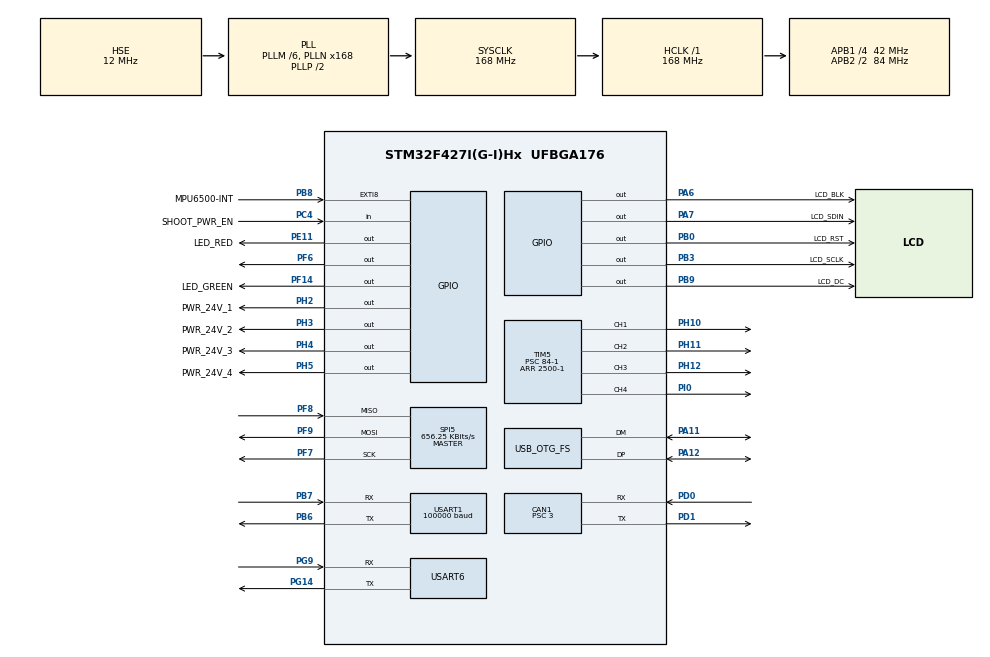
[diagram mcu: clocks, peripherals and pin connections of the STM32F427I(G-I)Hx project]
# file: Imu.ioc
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CAN1.BS1=CAN_BS1_8TQ
CAN1.BS2=CAN_BS2_5TQ
CAN1.CalculateBaudRate=1000000
CAN1.CalculateTimeBit=1000
CAN1.CalculateTimeQuantum=71.42857142857143
CAN1.Prescaler=3
CAN1.SJW=CAN_SJW_1TQ
Dma.Request0=USART1_RX
Dma.Request1=SPI5_RX
Dma.Request2=SPI5_TX
Dma.Request3=USART6_RX
Dma.SPI5_RX.1.Direction=DMA_PERIPH_TO_MEMORY
Dma.SPI5_RX.1.FIFOMode=DMA_FIFOMODE_DISABLE
Dma.SPI5_RX.1.Instance=DMA2_Stream3
Dma.SPI5_RX.1.MemDataAlignment=DMA_MDATAALIGN_BYTE
Dma.SPI5_RX.1.MemInc=DMA_MINC_ENABLE
Dma.SPI5_RX.1.Mode=DMA_NORMAL
Dma.SPI5_RX.1.PeriphDataAlignment=DMA_PDATAALIGN_BYTE
Dma.SPI5_RX.1.PeriphInc=DMA_PINC_DISABLE
Dma.SPI5_RX.1.Priority=DMA_PRIORITY_VERY_HIGH
Dma.SPI5_TX.2.Direction=DMA_MEMORY_TO_PERIPH
Dma.SPI5_TX.2.FIFOMode=DMA_FIFOMODE_DISABLE
Dma.SPI5_TX.2.Instance=DMA2_Stream4
Dma.SPI5_TX.2.MemDataAlignment=DMA_MDATAALIGN_BYTE
Dma.SPI5_TX.2.MemInc=DMA_MINC_ENABLE
Dma.SPI5_TX.2.Mode=DMA_NORMAL
Dma.SPI5_TX.2.PeriphDataAlignment=DMA_PDATAALIGN_BYTE
Dma.SPI5_TX.2.PeriphInc=DMA_PINC_DISABLE
Dma.SPI5_TX.2.Priority=DMA_PRIORITY_VERY_HIGH
Dma.USART1_RX.0.Direction=DMA_PERIPH_TO_MEMORY
Dma.USART1_RX.0.FIFOMode=DMA_FIFOMODE_DISABLE
Dma.USART1_RX.0.Instance=DMA2_Stream5
Dma.USART1_RX.0.MemDataAlignment=DMA_MDATAALIGN_BYTE
Dma.USART1_RX.0.MemInc=DMA_MINC_ENABLE
Dma.USART1_RX.0.Mode=DMA_CIRCULAR
Dma.USART1_RX.0.PeriphDataAlignment=DMA_PDATAALIGN_BYTE
Dma.USART1_RX.0.PeriphInc=DMA_PINC_DISABLE
Dma.USART1_RX.0.Priority=DMA_PRIORITY_MEDIUM
Dma.USART6_RX.3.Direction=DMA_PERIPH_TO_MEMORY
Dma.USART6_RX.3.FIFOMode=DMA_FIFOMODE_DISABLE
Dma.USART6_RX.3.Instance=DMA2_Stream1
Dma.USART6_RX.3.MemDataAlignment=DMA_MDATAALIGN_BYTE
Dma.USART6_RX.3.MemInc=DMA_MINC_ENABLE
Dma.USART6_RX.3.Mode=DMA_CIRCULAR
Dma.USART6_RX.3.PeriphDataAlignment=DMA_PDATAALIGN_BYTE
Dma.USART6_RX.3.PeriphInc=DMA_PINC_DISABLE
Dma.USART6_RX.3.Priority=DMA_PRIORITY_MEDIUM
FREERTOS.INCLUDE_vTaskDelayUntil=1
FREERTOS.Tasks01=defaultTask,24,128,StartDefaultTask,Default,NULL,Dynamic,NULL,NULL;LED_Blink_Task,16,128,LED_Task,As external,NULL,Dynamic,NULL,NULL;INS_Update_Task,48,1024,INS_Task,As external,NULL,Dynamic,NULL,NULL;Gimbal_Control,40,512,Gimbal_Task,As external,NULL,Dynamic,NULL,NULL;LCD_Refresh,8,512,LCD_Task,As external,NULL,Dynamic,NULL,NULL
FREERTOS.configGENERATE_RUN_TIME_STATS=1
FREERTOS.configLIBRARY_MAX_SYSCALL_INTERRUPT_PRIORITY=2
FREERTOS.configUSE_STATS_FORMATTING_FUNCTIONS=1
FREERTOS.configUSE_TRACE_FACILITY=1
Mcu.Family=STM32F4
Mcu.Name=STM32F427I(G-I)Hx
Mcu.Package=UFBGA176
NVIC.CAN1_RX0_IRQn=true\:2\:0\:false\:false\:true\:true\:true\:true
NVIC.DMA2_Stream1_IRQn=true\:2\:0\:false\:false\:true\:false\:false\:true
NVIC.DMA2_Stream3_IRQn=true\:2\:0\:true\:false\:true\:true\:false\:true
NVIC.DMA2_Stream4_IRQn=true\:3\:0\:true\:false\:true\:false\:false\:true
NVIC.DMA2_Stream5_IRQn=true\:2\:0\:false\:false\:true\:true\:false\:true
NVIC.EXTI9_5_IRQn=true\:2\:0\:true\:false\:true\:true\:true\:true
NVIC.OTG_FS_IRQn=true\:1\:0\:true\:false\:true\:false\:false\:true
NVIC.PriorityGroup=NVIC_PRIORITYGROUP_4
NVIC.TIM7_IRQn=true\:0\:0\:false\:false\:true\:false\:true\:true
NVIC.TimeBase=TIM7_IRQn
NVIC.TimeBaseIP=TIM7
NVIC.USART1_IRQn=true\:3\:0\:true\:false\:true\:true\:true\:true
NVIC.USART6_IRQn=true\:2\:0\:true\:false\:true\:true\:true\:true
PA11.Mode=Device_Only
PA11.Signal=USB_OTG_FS_DM
PA12.Mode=Device_Only
PA12.Signal=USB_OTG_FS_DP
PA13.Mode=Serial_Wire
PA13.Signal=SYS_JTMS-SWDIO
PA14.Mode=Serial_Wire
PA14.Signal=SYS_JTCK-SWCLK
PA6.GPIO_Label=LCD_BLK
PA6.GPIO_Speed=GPIO_SPEED_FREQ_HIGH
PA6.Signal=GPIO_Output
PA7.GPIO_Label=LCD_SDIN
PA7.GPIO_Speed=GPIO_SPEED_FREQ_HIGH
PA7.Signal=GPIO_Output
PB0.GPIO_Label=LCD_RST
PB0.GPIO_Speed=GPIO_SPEED_FREQ_HIGH
PB0.Signal=GPIO_Output
PB3.GPIO_Label=LCD_SCLK
PB3.GPIO_Speed=GPIO_SPEED_FREQ_HIGH
PB3.Signal=GPIO_Output
PB6.Mode=Asynchronous
PB6.Signal=USART1_TX
PB7.Mode=Asynchronous
PB7.Signal=USART1_RX
PB8.GPIO_Label=MPU6500-INT
PB8.Signal=GPXTI8
PB9.GPIO_Label=LCD_DC
PB9.GPIO_Speed=GPIO_SPEED_FREQ_HIGH
PB9.Signal=GPIO_Output
PC4.GPIO_Label=SHOOT_PWR_EN
PC4.Signal=GPIO_Input
PD0.Mode=CAN_Activate
PD0.Signal=CAN1_RX
PD1.Mode=CAN_Activate
PD1.Signal=CAN1_TX
PE11.GPIO_Label=LED_RED
PE11.Signal=GPIO_Output
PF14.GPIO_Label=LED_GREEN
PF14.Signal=GPIO_Output
PF6.Signal=GPIO_Output
PF7.Mode=Full_Duplex_Master
PF7.Signal=SPI5_SCK
PF8.Mode=Full_Duplex_Master
PF8.Signal=SPI5_MISO
PF9.Mode=Full_Duplex_Master
PF9.Signal=SPI5_MOSI
PG14.Mode=Asynchronous
PG14.Signal=USART6_TX
PG9.Mode=Asynchronous
PG9.Signal=USART6_RX
PH0/OSC_IN.Mode=HSE-External-Oscillator
PH0/OSC_IN.Signal=RCC_OSC_IN
PH1/OSC_OUT.Mode=HSE-External-Oscillator
PH1/OSC_OUT.Signal=RCC_OSC_OUT
PH10.Signal=S_TIM5_CH1
PH11.Signal=S_TIM5_CH2
PH12.Signal=S_TIM5_CH3
PH2.GPIO_Label=PWR_24V_1
PH2.PinState=GPIO_PIN_SET
PH2.Signal=GPIO_Output
PH3.GPIO_Label=PWR_24V_2
PH3.PinState=GPIO_PIN_SET
PH3.Signal=GPIO_Output
PH4.GPIO_Label=PWR_24V_3
PH4.PinState=GPIO_PIN_SET
PH4.Signal=GPIO_Output
PH5.GPIO_Label=PWR_24V_4
PH5.PinState=GPIO_PIN_SET
PH5.Signal=GPIO_Output
PI0.Signal=S_TIM5_CH4
ProjectManager.HeapSize=0x2000
ProjectManager.StackSize=0x2000
ProjectManager.TargetToolchain=STM32CubeIDE
RCC.48MHZClocksFreq_Value=48000000
RCC.AHBFreq_Value=168000000
RCC.APB1CLKDivider=RCC_HCLK_DIV4
RCC.APB1Freq_Value=42000000
RCC.APB1TimFreq_Value=84000000
RCC.APB2CLKDivider=RCC_HCLK_DIV2
RCC.APB2Freq_Value=84000000
RCC.APB2TimFreq_Value=168000000
RCC.CortexFreq_Value=168000000
RCC.HCLKFreq_Value=168000000
RCC.HSE_VALUE=12000000
RCC.HSI_VALUE=16000000
RCC.LSE_VALUE=32768
RCC.PLLM=6
RCC.PLLN=168
RCC.PLLQ=7
RCC.SYSCLKFreq_VALUE=168000000
RCC.SYSCLKSource=RCC_SYSCLKSOURCE_PLLCLK
RCC.VCOOutputFreq_Value=336000000
SH.S_TIM5_CH1.0=TIM5_CH1,PWM Generation1 CH1
SH.S_TIM5_CH2.0=TIM5_CH2,PWM Generation2 CH2
SH.S_TIM5_CH3.0=TIM5_CH3,PWM Generation3 CH3
SH.S_TIM5_CH4.0=TIM5_CH4,Output Compare4 CH4
SPI5.BaudRatePrescaler=SPI_BAUDRATEPRESCALER_128
SPI5.CalculateBaudRate=656.25 KBits/s
SPI5.Direction=SPI_DIRECTION_2LINES
SPI5.Mode=SPI_MODE_MASTER
SPI5.VirtualType=VM_MASTER
TIM5.Channel-Output\ Compare4\ CH4=TIM_CHANNEL_4
TIM5.Channel-PWM\ Generation1\ CH1=TIM_CHANNEL_1
TIM5.Channel-PWM\ Generation2\ CH2=TIM_CHANNEL_2
TIM5.Channel-PWM\ Generation3\ CH3=TIM_CHANNEL_3
TIM5.Period=2500-1
TIM5.Prescaler=84-1
USART1.BaudRate=100000
USART1.Parity=PARITY_EVEN
USART1.VirtualMode=VM_ASYNC
USART6.VirtualMode=VM_ASYNC
USB_DEVICE.CLASS_NAME_FS=CDC
USB_DEVICE.VirtualMode-CDC_FS=Cdc
USB_DEVICE.VirtualModeFS=Cdc_FS
USB_OTG_FS.VirtualMode=Device_Only
VP_FREERTOS_VS_CMSIS_V2.Mode=CMSIS_V2
VP_SYS_VS_tim7.Mode=TIM7
VP_USB_DEVICE_VS_USB_DEVICE_CDC_FS.Mode=CDC_FS
board=Imu

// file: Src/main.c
/* USER CODE BEGIN Header */
/**
  ******************************************************************************
  * @file           : main.c
  * @brief          : Main program body
  ******************************************************************************
  * @attention
  *
  * <h2><center>&copy; Copyright (c) 2021 STMicroelectronics.
  * All rights reserved.</center></h2>
  *
  * This software component is licensed by ST under BSD 3-Clause license,
  * the "License"; You may not use this file except in compliance with the
  * License. You may obtain a copy of the License at:
  *                        opensource.org/licenses/BSD-3-Clause
  *
  ******************************************************************************
  */
/* USER CODE END Header */
#include "main.h"
#include "cmsis_os.h"
#include "can.h"
#include "dma.h"
#include "spi.h"
#include "tim.h"
#include "usart.h"
#include "usb_device.h"
#include "gpio.h"

/* USER CODE BEGIN Includes */
#include "bsp_imu.h"
#include "bsp_uart.h"
#include "bsp_can.h"
#include "bsp_trigger.h"
#include "bsp_lcd.h"
#include "FusionAhrs.h"
#include "usbd_cdc_if.h"
/* USER CODE END Includes */

/* USER CODE BEGIN PV */
extern imu_t imu;
extern RC_ctrl_t rc;

extern UART_HandleTypeDef huart6;
char buf[300];
//extern TIM_HandleTypeDef htim5;
/* USER CODE END PV */

void SystemClock_Config(void);
void MX_FREERTOS_Init(void);
/* USER CODE BEGIN PFP */
/* Private function prototypes -----------------------------------------------*/

/* USER CODE END PFP */

/* USER CODE BEGIN 0 */

char lcd_str[100];

void LED_Task(void const * argument){

	while(1){

		HAL_GPIO_TogglePin(GPIOF, LED_GREEN_Pin);
		osDelay(500);
	}

}

/* USER CODE END 0 */

int main(void)
{

  /* MCU Configuration--------------------------------------------------------*/

  /* Reset of all peripherals, Initializes the Flash interface and the Systick. */
  HAL_Init();

  /* Configure the system clock */
  SystemClock_Config();

  /* Initialize all configured peripherals */
  MX_GPIO_Init();
  MX_DMA_Init();
  MX_SPI5_Init();
  MX_USART6_UART_Init();
  MX_USART1_UART_Init();
  MX_CAN1_Init();
  MX_TIM5_Init();
  /* USER CODE BEGIN 2 */

	led_off();
	mpu_device_init();
	dbus_uart_init();
	refree_uart_init();
	can_filter_init();
	trigger_pwm_start();
	NVIC_SetPriorityGrouping(0);
	//Lcd_Init();

	//sprintf(lcd_str, "Init...");//��LCD ID��ӡ��lcd_id���顣
	//LCD_ShowString(1, 1, lcd_str);

  /* USER CODE END 2 */

  /* Init scheduler */
  osKernelInitialize();  /* Call init function for freertos objects (in freertos.c) */
  MX_FREERTOS_Init();
  /* Start scheduler */
  osKernelStart();

  /* We should never get here as control is now taken by the scheduler */
  /* Infinite loop */
  while (1)
  {

  }
}

void SystemClock_Config(void)
{
  RCC_OscInitTypeDef RCC_OscInitStruct = {0};
  RCC_ClkInitTypeDef RCC_ClkInitStruct = {0};

  /** Configure the main internal regulator output voltage
  */
  __HAL_RCC_PWR_CLK_ENABLE();
  __HAL_PWR_VOLTAGESCALING_CONFIG(PWR_REGULATOR_VOLTAGE_SCALE1);
  /** Initializes the RCC Oscillators according to the specified parameters
  * in the RCC_OscInitTypeDef structure.
  */
  RCC_OscInitStruct.OscillatorType = RCC_OSCILLATORTYPE_HSE;
  RCC_OscInitStruct.HSEState = RCC_HSE_ON;
  RCC_OscInitStruct.PLL.PLLState = RCC_PLL_ON;
  RCC_OscInitStruct.PLL.PLLSource = RCC_PLLSOURCE_HSE;
  RCC_OscInitStruct.PLL.PLLM = 6;
  RCC_OscInitStruct.PLL.PLLN = 168;
  RCC_OscInitStruct.PLL.PLLP = RCC_PLLP_DIV2;
  RCC_OscInitStruct.PLL.PLLQ = 7;
  if (HAL_RCC_OscConfig(&RCC_OscInitStruct) != HAL_OK)
  {
    Error_Handler();
  }
  /** Initializes the CPU, AHB and APB buses clocks
  */
  RCC_ClkInitStruct.ClockType = RCC_CLOCKTYPE_HCLK|RCC_CLOCKTYPE_SYSCLK
                              |RCC_CLOCKTYPE_PCLK1|RCC_CLOCKTYPE_PCLK2;
  RCC_ClkInitStruct.SYSCLKSource = RCC_SYSCLKSOURCE_PLLCLK;
  RCC_ClkInitStruct.AHBCLKDivider = RCC_SYSCLK_DIV1;
  RCC_ClkInitStruct.APB1CLKDivider = RCC_HCLK_DIV4;
  RCC_ClkInitStruct.APB2CLKDivider = RCC_HCLK_DIV2;

  if (HAL_RCC_ClockConfig(&RCC_ClkInitStruct, FLASH_LATENCY_5) != HAL_OK)
  {
    Error_Handler();
  }
}

void HAL_TIM_PeriodElapsedCallback(TIM_HandleTypeDef *htim)
{
  if (htim->Instance == TIM7) {
    HAL_IncTick();
  }
}

void Error_Handler(void)
{
  while(1)
  {
  }
}

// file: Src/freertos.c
/* USER CODE BEGIN Header */
/**
  ******************************************************************************
  * File Name          : freertos.c
  * Description        : Code for freertos applications
  ******************************************************************************
  * @attention
  *
  * <h2><center>&copy; Copyright (c) 2021 STMicroelectronics.
  * All rights reserved.</center></h2>
  *
  * This software component is licensed by ST under Ultimate Liberty license
  * SLA0044, the "License"; You may not use this file except in compliance with
  * the License. You may obtain a copy of the License at:
  *                             www.st.com/SLA0044
  *
  ******************************************************************************
  */
/* USER CODE END Header */

#include "FreeRTOS.h"
#include "task.h"
#include "main.h"
#include "cmsis_os.h"

/* USER CODE BEGIN Includes */
#include "bsp_imu.h"
#include "usbd_cdc_if.h"
#include "string.h"
/* USER CODE END Includes */

/* USER CODE BEGIN PD */
//configGENERATE_RUN_TIME_STATS configUSE_STATS_FORMATTING_FUNCTIONS configUSE_TRACE_FACILITY
/* USER CODE END PD */

/* USER CODE BEGIN Variables */
		uint8_t int_en = 0;
		uint8_t int_status = 0;
extern char buf[300]; // In main.c

extern SPI_HandleTypeDef hspi5;
extern uint8_t               ist_buff[6];                           /* buffer to save IST8310 raw data */
/* USER CODE END Variables */
/* Definitions for defaultTask */
osThreadId_t defaultTaskHandle;
const osThreadAttr_t defaultTask_attributes = {
  .name = "defaultTask",
  .stack_size = 128 * 4,
  .priority = (osPriority_t) osPriorityNormal,
};
/* Definitions for LED_Blink_Task */
osThreadId_t LED_Blink_TaskHandle;
const osThreadAttr_t LED_Blink_Task_attributes = {
  .name = "LED_Blink_Task",
  .stack_size = 128 * 4,
  .priority = (osPriority_t) osPriorityBelowNormal,
};
/* Definitions for INS_Update_Task */
osThreadId_t INS_Update_TaskHandle;
const osThreadAttr_t INS_Update_Task_attributes = {
  .name = "INS_Update_Task",
  .stack_size = 1024 * 4,
  .priority = (osPriority_t) osPriorityRealtime,
};
/* Definitions for Gimbal_Control */
osThreadId_t Gimbal_ControlHandle;
const osThreadAttr_t Gimbal_Control_attributes = {
  .name = "Gimbal_Control",
  .stack_size = 512 * 4,
  .priority = (osPriority_t) osPriorityHigh,
};
/* Definitions for LCD_Refresh */
osThreadId_t LCD_RefreshHandle;
const osThreadAttr_t LCD_Refresh_attributes = {
  .name = "LCD_Refresh",
  .stack_size = 512 * 4,
  .priority = (osPriority_t) osPriorityLow,
};

void StartDefaultTask(void *argument);
extern void LED_Task(void *argument);
extern void INS_Task(void *argument);
extern void Gimbal_Task(void *argument);
extern void LCD_Task(void *argument);

extern void MX_USB_DEVICE_Init(void);
void MX_FREERTOS_Init(void); /* (MISRA C 2004 rule 8.1) */

/* Hook prototypes */
void configureTimerForRunTimeStats(void);
unsigned long getRunTimeCounterValue(void);

/* USER CODE BEGIN 1 */
/* Functions needed when configGENERATE_RUN_TIME_STATS is on */
__weak void configureTimerForRunTimeStats(void)
{

}

__weak unsigned long getRunTimeCounterValue(void)
{
return xTaskGetTickCount();//0;
}
/* USER CODE END 1 */

void MX_FREERTOS_Init(void) {

  /* Create the thread(s) */
  /* creation of defaultTask */
  defaultTaskHandle = osThreadNew(StartDefaultTask, NULL, &defaultTask_attributes);

  /* creation of LED_Blink_Task */
  LED_Blink_TaskHandle = osThreadNew(LED_Task, NULL, &LED_Blink_Task_attributes);

  /* creation of INS_Update_Task */
  INS_Update_TaskHandle = osThreadNew(INS_Task, NULL, &INS_Update_Task_attributes);

  /* creation of Gimbal_Control */
  Gimbal_ControlHandle = osThreadNew(Gimbal_Task, NULL, &Gimbal_Control_attributes);

  /* creation of LCD_Refresh */
  LCD_RefreshHandle = osThreadNew(LCD_Task, NULL, &LCD_Refresh_attributes);

}

void StartDefaultTask(void *argument)
{
  /* init code for USB_DEVICE */
  MX_USB_DEVICE_Init();
  /* USER CODE BEGIN StartDefaultTask */

//	  UBaseType_t   ArraySize;
//    TaskStatus_t  *StatusArray;
//    uint8_t       x;
//		volatile int32_t FreeRTOSRunTimeTicks;
//
//    ArraySize = uxTaskGetNumberOfTasks();
//    StatusArray = pvPortMalloc(ArraySize*sizeof(TaskStatus_t));
//    while(1)
//    {
//				FreeRTOSRunTimeTicks = xTaskGetTickCount();
//
//        if(StatusArray != NULL){

//            ArraySize = uxTaskGetSystemState( (TaskStatus_t *) StatusArray,
//                                              (UBaseType_t   ) ArraySize,
//                                              (uint32_t *    ) &FreeRTOSRunTimeTicks );

//            sprintf(buf, "TaskName\t\tPriority\tTaskNumber\tMinStk\tRunTimeCounter\n");
//            for(x = 0;x<ArraySize;x++){
//                sprintf(buf + strlen(buf),"%s\t\t%d\t%d\t%d\t%d\r\n",
//                        StatusArray[x].pcTaskName,
//                        (int)StatusArray[x].uxCurrentPriority,
//                        (int)StatusArray[x].xTaskNumber,
//                        (int)StatusArray[x].usStackHighWaterMark,
//                        (int)StatusArray[x].ulRunTimeCounter);
//            }
//            //RTT_printf(0,"\n\n");
//        }
//				CDC_Transmit_FS((uint8_t*) buf, strlen(buf));
//        vTaskDelay(1000);
//    }

  /* Infinite loop */
  for(;;)
  {
    osDelay(10);
		//int_status = mpu_read_byte(0x3A);
		//int_en = mpu_read_byte(0x38);

//		vTaskGetRunTimeStats(buf);
//		sprintf(buf + strlen(buf), "xTaskGetTickCount()=%d\n", xTaskGetTickCount());

		uint8_t wza_buf[200];
		srand(xTaskGetTickCount());
		for(uint8_t i = 0; i < 49; ++i){
			wza_buf[i] = rand() % 256;
		}

		CDC_Transmit_FS((uint8_t*) wza_buf, 49);
  }
  /* USER CODE END StartDefaultTask */
}
